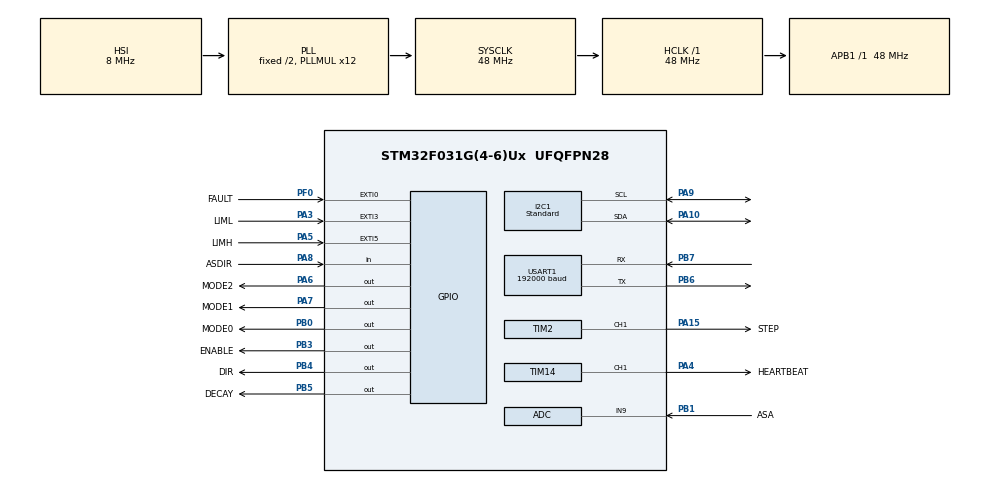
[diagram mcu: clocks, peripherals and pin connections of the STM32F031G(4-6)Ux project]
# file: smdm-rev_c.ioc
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ADC.ClockPrescaler=ADC_CLOCK_ASYNC_DIV1
ADC.ContinuousConvMode=DISABLE
ADC.DMAContinuousRequests=DISABLE
ADC.DataAlign=ADC_DATAALIGN_RIGHT
ADC.DiscontinuousConvMode=DISABLE
ADC.EOCSelection=ADC_EOC_SINGLE_CONV
ADC.EnableAnalogWatchDog=false
ADC.ExternalTrigConv=ADC_SOFTWARE_START
ADC.ExternalTrigConvEdge=ADC_EXTERNALTRIGCONVEDGE_NONE
ADC.LowPowerAutoPowerOff=DISABLE
ADC.LowPowerAutoWait=DISABLE
ADC.Overrun=ADC_OVR_DATA_PRESERVED
ADC.Resolution=ADC_RESOLUTION_12B
ADC.SamplingTime=ADC_SAMPLETIME_239CYCLES_5
ADC.ScanConvMode=ADC_SCAN_DIRECTION_FORWARD
I2C1.I2C_Speed_Mode=I2C_Standard
I2C1.Speed=50
I2C1.Timing=0x00101D7C
Mcu.Family=STM32F0
Mcu.Name=STM32F031G(4-6)Ux
Mcu.Package=UFQFPN28
NVIC.ADC1_IRQn=true\:0\:0\:true\:false\:true\:true
NVIC.EXTI0_1_IRQn=true\:0\:0\:false\:false\:true\:true
NVIC.EXTI2_3_IRQn=true\:0\:0\:false\:false\:true\:true
NVIC.EXTI4_15_IRQn=true\:0\:0\:false\:false\:true\:true
NVIC.I2C1_IRQn=true\:0\:0\:true\:false\:true\:true
NVIC.TIM16_IRQn=true\:1\:0\:true\:false\:true\:true
NVIC.TIM2_IRQn=true\:0\:0\:true\:false\:true\:true
NVIC.USART1_IRQn=true\:0\:0\:false\:false\:true\:true
PA10.Mode=I2C
PA10.Signal=I2C1_SDA
PA13.Mode=Serial_Wire
PA13.Signal=SYS_SWDIO
PA14.Mode=Serial_Wire
PA14.Signal=SYS_SWCLK
PA15.GPIO_Label=STEP
PA15.Signal=S_TIM2_CH1_ETR
PA3.GPIO_Label=LIML
PA3.GPIO_ModeDefaultEXTI=GPIO_MODE_IT_FALLING
PA3.GPIO_PuPd=GPIO_PULLUP
PA3.Signal=GPXTI3
PA4.GPIO_Label=HEARTBEAT
PA4.Signal=S_TIM14_CH1
PA5.GPIO_Label=LIMH
PA5.GPIO_ModeDefaultEXTI=GPIO_MODE_IT_FALLING
PA5.GPIO_PuPd=GPIO_PULLUP
PA5.Signal=GPXTI5
PA6.GPIO_Label=MODE2
PA6.Signal=GPIO_Output
PA7.GPIO_Label=MODE1
PA7.Signal=GPIO_Output
PA8.GPIO_Label=ASDIR
PA8.Signal=GPIO_Input
PA9.Mode=I2C
PA9.Signal=I2C1_SCL
PB0.GPIO_Label=MODE0
PB0.Signal=GPIO_Output
PB1.GPIO_Label=ASA
PB1.Mode=IN9
PB1.Signal=ADC_IN9
PB3.GPIO_Label=ENABLE
PB3.GPIO_PuPd=GPIO_PULLUP
PB3.PinState=GPIO_PIN_SET
PB3.Signal=GPIO_Output
PB4.GPIO_Label=DIR
PB4.Signal=GPIO_Output
PB5.GPIO_Label=DECAY
PB5.Signal=GPIO_Output
PB6.Mode=Asynchronous
PB6.Signal=USART1_TX
PB7.Mode=Asynchronous
PB7.Signal=USART1_RX
PF0-OSC_IN.GPIO_Label=FAULT
PF0-OSC_IN.GPIO_ModeDefaultEXTI=GPIO_MODE_IT_FALLING
PF0-OSC_IN.GPIO_PuPd=GPIO_PULLUP
PF0-OSC_IN.Signal=GPXTI0
ProjectManager.HeapSize=0x200
ProjectManager.StackSize=0x400
ProjectManager.TargetToolchain=SW4STM32
RCC.AHBFreq_Value=48000000
RCC.APB1Freq_Value=48000000
RCC.APB1TimFreq_Value=48000000
RCC.HCLKFreq_Value=48000000
RCC.PLLMUL=RCC_PLL_MUL12
RCC.SYSCLKFreq_VALUE=48000000
RCC.SYSCLKSource=RCC_SYSCLKSOURCE_PLLCLK
SH.S_TIM14_CH1.0=TIM14_CH1,Output Compare1 CH1
SH.S_TIM2_CH1_ETR.0=TIM2_CH1,PWM Generation1 CH1
TIM14.Channel=TIM_CHANNEL_1
TIM14.OCMode_1=TIM_OCMODE_TOGGLE
TIM14.Period=500
TIM14.Prescaler=48000
TIM16.Channel=TIM_CHANNEL_1
TIM16.ClockDivision=TIM_CLOCKDIVISION_DIV1
TIM16.Period=10-1
TIM16.Prescaler=48000 - 1
TIM2.AutoReloadPreload=TIM_AUTORELOAD_PRELOAD_ENABLE
TIM2.Channel-Output\ Compare4\ CH4=TIM_CHANNEL_4
TIM2.Channel-PWM\ Generation1\ CH1=TIM_CHANNEL_1
TIM2.Period=100-1
TIM2.Prescaler=96-1
TIM2.Pulse-PWM\ Generation1\ CH1=4-1
USART1.BaudRate=192000
USART1.VirtualMode-Asynchronous=VM_ASYNC
VP_ADC_TempSens_Input.Mode=IN-TempSens
VP_ADC_Vref_Input.Mode=IN-Vrefint
VP_TIM14_VS_ClockSourceINT.Mode=Enable_Timer
VP_TIM16_VS_ClockSourceINT.Mode=Enable_Timer
VP_TIM16_VS_no_output1.Mode=Output Compare1 No Output
board=smdm-rev_c

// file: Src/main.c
/**
  ******************************************************************************
  * File Name          : main.c
  * Description        : Main program body
  ******************************************************************************
  ** This notice applies to any and all portions of this file
  * that are not between comment pairs USER CODE BEGIN and
  * USER CODE END. Other portions of this file, whether
  * inserted by the user or by software development tools
  * are owned by their respective copyright owners.
  *
  * COPYRIGHT(c) 2018 STMicroelectronics
  *
  * Redistribution and use in source and binary forms, with or without modification,
  * are permitted provided that the following conditions are met:
  *   1. Redistributions of source code must retain the above copyright notice,
  *      this list of conditions and the following disclaimer.
  *   2. Redistributions in binary form must reproduce the above copyright notice,
  *      this list of conditions and the following disclaimer in the documentation
  *      and/or other materials provided with the distribution.
  *   3. Neither the name of STMicroelectronics nor the names of its contributors
  *      may be used to endorse or promote products derived from this software
  *      without specific prior written permission.
  *
  * THIS SOFTWARE IS PROVIDED BY THE COPYRIGHT HOLDERS AND CONTRIBUTORS "AS IS"
  * AND ANY EXPRESS OR IMPLIED WARRANTIES, INCLUDING, BUT NOT LIMITED TO, THE
  * IMPLIED WARRANTIES OF MERCHANTABILITY AND FITNESS FOR A PARTICULAR PURPOSE ARE
  * DISCLAIMED. IN NO EVENT SHALL THE COPYRIGHT HOLDER OR CONTRIBUTORS BE LIABLE
  * FOR ANY DIRECT, INDIRECT, INCIDENTAL, SPECIAL, EXEMPLARY, OR CONSEQUENTIAL
  * DAMAGES (INCLUDING, BUT NOT LIMITED TO, PROCUREMENT OF SUBSTITUTE GOODS OR
  * SERVICES; LOSS OF USE, DATA, OR PROFITS; OR BUSINESS INTERRUPTION) HOWEVER
  * CAUSED AND ON ANY THEORY OF LIABILITY, WHETHER IN CONTRACT, STRICT LIABILITY,
  * OR TORT (INCLUDING NEGLIGENCE OR OTHERWISE) ARISING IN ANY WAY OUT OF THE USE
  * OF THIS SOFTWARE, EVEN IF ADVISED OF THE POSSIBILITY OF SUCH DAMAGE.
  *
  ******************************************************************************
  */

#include "main.h"
#include "stm32f0xx_hal.h"
#include "adc.h"
#include "i2c.h"
#include "tim.h"
#include "usart.h"
#include "gpio.h"

/* USER CODE BEGIN Includes */
#include "tpl0401.h"
#include "drv8825.h"
/* USER CODE END Includes */

/* USER CODE BEGIN PV */
/* Private variables ---------------------------------------------------------*/
volatile uint8_t temp_conv_complete = 0;
volatile int32_t ADC_values[2] = { 0 }; /* CHANNEL_9, CHANNEL_TEMP */
int32_t temp = 0;
/* USER CODE END PV */

void SystemClock_Config(void);

/* USER CODE BEGIN PFP */
/* Private function prototypes -----------------------------------------------*/
extern void initialise_monitor_handles(void);
int32_t GetTemperature(void);
/* USER CODE END PFP */

/* USER CODE BEGIN 0 */
void HAL_GPIO_EXTI_Callback(uint16_t GPIO_Pin) {
	/* ! \tpdo Debounce triggers here. */
	switch (GPIO_Pin) {
	case FAULT_Pin:
		printf("DRV8825 fault condition triggered.\n");
		break;
	case LIML_Pin:
		printf("Low-side limit switch triggered.\n");
		break;
	case LIMH_Pin:
		printf("High-side limit switch triggered.\n");
		break;
	default:
		break;
	}
}

void HAL_TIM_PWM_PulseFinishedCallback(TIM_HandleTypeDef *htim) {
	if (htim == &htim2) {
		DRV8825_PWMInterruptHandler(htim);
	}
}

void HAL_TIM_OC_DelayElapsedCallback(TIM_HandleTypeDef *htim) {
	if (htim == &htim16) {
		DRV8825_AccelInterruptHandler(htim);
	}
}

void HAL_ADC_ConvCpltCallback(ADC_HandleTypeDef* hadc) {
	static uint8_t index = 0;
	int32_t vdd = 0;
	int32_t temperature = 0; /* Temperature in degrees Celsius*/
	/* Orcer of conversion is CHANNEL_9, TEMP_CHANNEL, VREF_CHANNEL */
	static int32_t ADC_raw_values[3] = { 0 };
	/* Perform these actions at the end of conversion for each channel. */
	if (__HAL_ADC_GET_FLAG(hadc, ADC_FLAG_EOC)) {
		/* Read the converted ADC value for the current channel and increment the index*/
		ADC_raw_values[index++] = HAL_ADC_GetValue(hadc);
	}

	/* Perform these actions after all channels have been read. */
	if (__HAL_ADC_GET_FLAG(hadc, ADC_FLAG_EOS)) {
		index = 0;
		vdd = 3300 * (*VREFINT_CAL_ADDR) / ADC_raw_values[2];
		temperature = (((int32_t) ADC_raw_values[1] * (vdd / 3300))
				- (int32_t) *TEMP30_CAL_ADDR);
		//temperature = (((int32_t)ADC_raw_values[1] * (3000/3300)) - (int32_t) *TEMP30_CAL_ADDR);
		temperature = temperature * (int32_t) (110 - 30);
		temperature = temperature
				/ (int32_t) (*TEMP110_CAL_ADDR - *TEMP30_CAL_ADDR);
		temperature = temperature + 30;

		ADC_values[0] = (vdd * ADC_raw_values[0] / 4095);
		ADC_values[1] = temperature;
		temp_conv_complete = 1;
	}
}

int32_t GetTemperature(void) {
	uint32_t start = HAL_GetTick();
	temp_conv_complete = 0;
	HAL_ADC_Start_IT(&hadc);
	/* Wait up to 100ms for conversion to complete*/
	while ((HAL_GetTick() - start) < 100) {
		if (temp_conv_complete) {
			return ADC_values[1];
		}
	}
	return 0;
}

/* USER CODE END 0 */

int main(void)
{

  /* MCU Configuration----------------------------------------------------------*/

  /* Reset of all peripherals, Initializes the Flash interface and the Systick. */
  HAL_Init();

  /* Configure the system clock */
  SystemClock_Config();

  /* Initialize all configured peripherals */
  MX_GPIO_Init();
  MX_USART1_UART_Init();
  MX_TIM2_Init();
  MX_ADC_Init();
  MX_I2C1_Init();
  MX_TIM14_Init();
  MX_TIM16_Init();

  /* USER CODE BEGIN 2 */
	HAL_GPIO_WritePin(ENABLE_GPIO_Port, ENABLE_Pin, GPIO_PIN_SET);
	/* Enable semihosting. TURN THIS OFF FOR THE PRODUCTION BUILD OR CHIP WILL HANG HERE! */

	//initialise_monitor_handles();
	/* Start timer for heartbeat LED*/
	if (HAL_TIM_OC_Start(&htim14, TIM_CHANNEL_1) != HAL_OK) {
		_Error_Handler(__FILE__, __LINE__);
	}

  /* USER CODE END 2 */

  /* Infinite loop */
  /* USER CODE BEGIN WHILE */
	DRV8825_TypeDef drv;
	drv.DecayPort = DECAY_GPIO_Port;
	drv.DirPort = DIR_GPIO_Port;
	drv.EnablePort = ENABLE_GPIO_Port;
	drv.StepPort = STEP_GPIO_Port;
	drv.Mode0Port = MODE0_GPIO_Port;
	drv.Mode1Port = MODE1_GPIO_Port;
	drv.Mode2Port = MODE2_GPIO_Port;
	drv.DecayPin = DECAY_Pin;
	drv.DirPin = DIR_Pin;
	drv.EnablePin = ENABLE_Pin;
	drv.StepPin = STEP_Pin;
	drv.Mode0Pin = MODE0_Pin;
	drv.Mode1Pin = MODE1_Pin;
	drv.Mode2Pin = MODE2_Pin;
	drv.StepsPerRevolution = 200;
	drv.MicrostepResolution = DRV8825_MICROSTEP_SIXTEENTH;
	drv.Acceleration = 2000;
	drv.AccelTimerHandle = &htim16;
	drv.AccelTimerChannel = TIM_CHANNEL_1;
	drv.PWMTimerHandle = &htim2;
	drv.PWMTimerChannel = TIM_CHANNEL_1;
	drv.I2CHandle = &hi2c1;
	DRV8825_Init(&drv);
	DRV8825_MoveContinuous(&drv, DRV8825_DIR_CCW, 1000);
	while (1) {
  /* USER CODE END WHILE */

  /* USER CODE BEGIN 3 */
		temp = GetTemperature();
		//printf("temperature = %ld.\n", temp);
	}
  /* USER CODE END 3 */

}

/** System Clock Configuration
*/
void SystemClock_Config(void)
{

  RCC_OscInitTypeDef RCC_OscInitStruct;
  RCC_ClkInitTypeDef RCC_ClkInitStruct;
  RCC_PeriphCLKInitTypeDef PeriphClkInit;

    /**Initializes the CPU, AHB and APB busses clocks
    */
  RCC_OscInitStruct.OscillatorType = RCC_OSCILLATORTYPE_HSI|RCC_OSCILLATORTYPE_HSI14;
  RCC_OscInitStruct.HSIState = RCC_HSI_ON;
  RCC_OscInitStruct.HSI14State = RCC_HSI14_ON;
  RCC_OscInitStruct.HSICalibrationValue = 16;
  RCC_OscInitStruct.HSI14CalibrationValue = 16;
  RCC_OscInitStruct.PLL.PLLState = RCC_PLL_ON;
  RCC_OscInitStruct.PLL.PLLSource = RCC_PLLSOURCE_HSI;
  RCC_OscInitStruct.PLL.PLLMUL = RCC_PLL_MUL12;
  RCC_OscInitStruct.PLL.PREDIV = RCC_PREDIV_DIV1;
  if (HAL_RCC_OscConfig(&RCC_OscInitStruct) != HAL_OK)
  {
    _Error_Handler(__FILE__, __LINE__);
  }

    /**Initializes the CPU, AHB and APB busses clocks
    */
  RCC_ClkInitStruct.ClockType = RCC_CLOCKTYPE_HCLK|RCC_CLOCKTYPE_SYSCLK
                              |RCC_CLOCKTYPE_PCLK1;
  RCC_ClkInitStruct.SYSCLKSource = RCC_SYSCLKSOURCE_PLLCLK;
  RCC_ClkInitStruct.AHBCLKDivider = RCC_SYSCLK_DIV1;
  RCC_ClkInitStruct.APB1CLKDivider = RCC_HCLK_DIV1;

  if (HAL_RCC_ClockConfig(&RCC_ClkInitStruct, FLASH_LATENCY_1) != HAL_OK)
  {
    _Error_Handler(__FILE__, __LINE__);
  }

  PeriphClkInit.PeriphClockSelection = RCC_PERIPHCLK_USART1|RCC_PERIPHCLK_I2C1;
  PeriphClkInit.Usart1ClockSelection = RCC_USART1CLKSOURCE_PCLK1;
  PeriphClkInit.I2c1ClockSelection = RCC_I2C1CLKSOURCE_HSI;
  if (HAL_RCCEx_PeriphCLKConfig(&PeriphClkInit) != HAL_OK)
  {
    _Error_Handler(__FILE__, __LINE__);
  }

    /**Configure the Systick interrupt time
    */
  HAL_SYSTICK_Config(HAL_RCC_GetHCLKFreq()/1000);

    /**Configure the Systick
    */
  HAL_SYSTICK_CLKSourceConfig(SYSTICK_CLKSOURCE_HCLK);

  /* SysTick_IRQn interrupt configuration */
  HAL_NVIC_SetPriority(SysTick_IRQn, 0, 0);
}

void _Error_Handler(char * file, int line)
{
  /* USER CODE BEGIN Error_Handler_Debug */
	/* User can add his own implementation to report the HAL error return state */
	HAL_GPIO_WritePin(HEARTBEAT_GPIO_Port, HEARTBEAT_Pin, GPIO_PIN_SET);
	printf("Error handler entered from %s:%d\n", file, line);
	while (1) {
	}
  /* USER CODE END Error_Handler_Debug */
}

/************************ (C) COPYRIGHT STMicroelectronics *****END OF FILE****/
